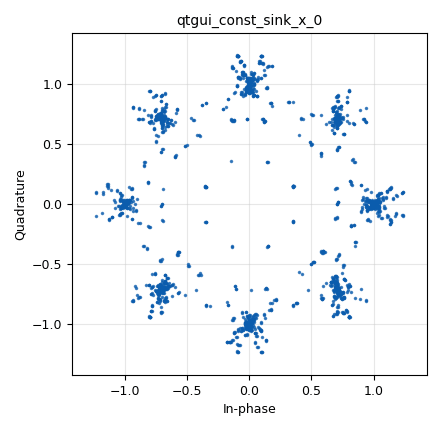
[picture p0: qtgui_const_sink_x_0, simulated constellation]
options:
  parameters:
    category: Custom
    generate_options: qt_gui
    id: top_block
    output_language: python
  states: {}

blocks:
- name: samp_rate
  id: variable
  parameters:
    value: '32000'
  states: {}
- name: variable_0
  id: variable
  parameters:
    comment: |-
      (COMMENT)
      Enable/Disable appropriate Constellation blocks.
    value: '0'
  states: {}
- name: analog_random_source_x_0
  id: analog_random_source_x
  parameters:
    max: '2'
    min: '0'
    num_samps: '1000'
    repeat: 'True'
    type: byte
  states: {}
- name: blocks_throttle_0
  id: blocks_throttle
  parameters:
    samples_per_second: samp_rate
    type: complex
  states: {}
- name: digital_psk_mod_0
  id: digital_psk_mod
  parameters:
    constellation_points: '8'
    differential: 'True'
    excess_bw: '0.35'
    mod_code: '"gray"'
    samples_per_symbol: '4'
  states: {}
- name: qtgui_const_sink_x_0
  id: qtgui_const_sink_x
  parameters:
    autoscale: 'True'
    grid: 'True'
    size: '2048'
    type: complex
  states: {}
- name: wxgui_constellationsink2_0
  id: wxgui_constellationsink2
  parameters:
    M: '8'
    const_size: '2048'
    fmax: '0.06'
    frame_rate: '5'
    gain_mu: '0.005'
    loop_bw: 6.28/100.0
    mu: '0.5'
    omega_limit: '0.005'
    samp_rate: samp_rate
    symbol_rate: samp_rate/4.
    theta: '0'
    title: Constellation Plot
  states: {state: disabled}

connections:
- [analog_random_source_x_0, '0', digital_psk_mod_0, '0']
- [blocks_throttle_0, '0', qtgui_const_sink_x_0, '0']
- [blocks_throttle_0, '0', wxgui_constellationsink2_0, '0']
- [digital_psk_mod_0, '0', blocks_throttle_0, '0']

metadata:
  file_format: 1
